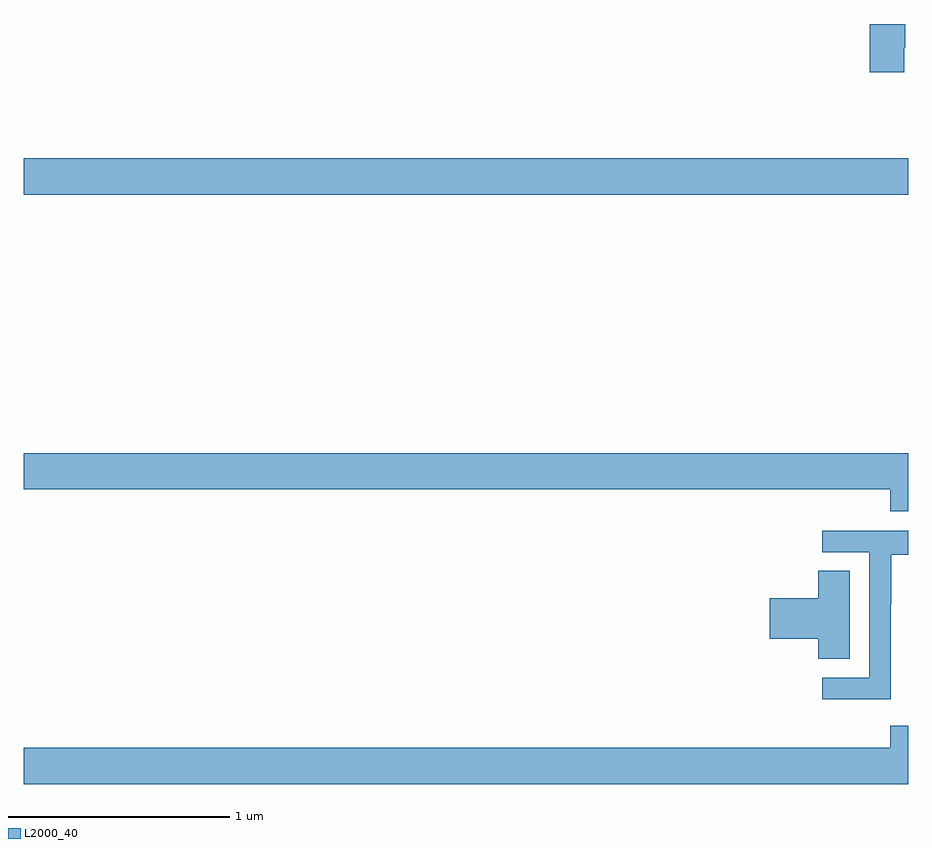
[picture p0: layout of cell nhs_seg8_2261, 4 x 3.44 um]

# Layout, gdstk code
import gdstk
lib = gdstk.Library(unit=1e-6, precision=1e-09)
def R(c, l, rs):  # rectangles x0, y0, x1, y1
    for r in rs: c.add(gdstk.rectangle(r[:2], r[2:], *l))
def P(c, l, *ps):  # polygons
    for p in ps: c.add(gdstk.Polygon(p, *l))
L2000_40 = (2000, 40)

nhs_seg8_2261 = lib.new_cell('nhs_seg8_2261')
R(nhs_seg8_2261, L2000_40, [(253,1155.128,257,1155.292)])
P(nhs_seg8_2261, L2000_40, [(256.981,1155.793),(256.986,1155.793),(256.986,1155.9),(256.826,1155.9),(256.826,1155.681),(256.981,1155.681)],
  [(257,1153.96),(253,1153.96),(253,1153.796),(256.919,1153.796),(256.919,1153.697),(257,1153.697)],
  [(256.92,1153.276),(256.923,1153.276),(256.923,1153.5),(257,1153.5),(257,1153.608),(256.611,1153.608),(256.611,1153.512),(256.824,1153.512),(256.824,1152.945),(256.611,1152.945),(256.611,1152.847),(256.92,1152.847)],
  [(256.735,1153.427),(256.592,1153.427),(256.592,1153.304),(256.374,1153.304),(256.374,1153.121),(256.592,1153.121),(256.592,1153.03),(256.735,1153.03)],
  [(257,1152.727),(256.919,1152.727),(256.919,1152.628),(253,1152.628),(253,1152.464),(257,1152.464)])

lib.write_gds('nhs_seg8_2261.gds')
